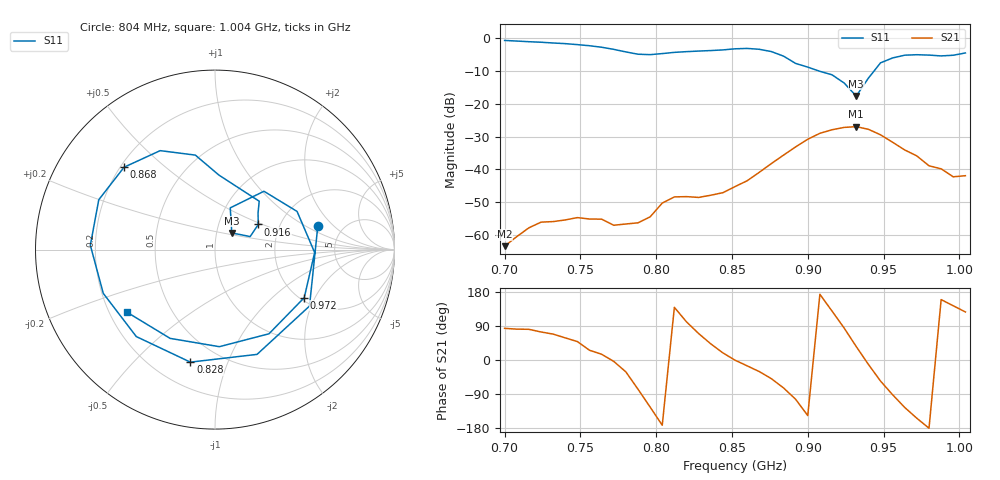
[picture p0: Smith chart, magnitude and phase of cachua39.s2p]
# Hz S RI R 50
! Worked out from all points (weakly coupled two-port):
!   39 points, 700 MHz to 1.004 GHz, reference 50 ohm
!   highest |S21| = -26.93 dB at 932 MHz (marker M1); lowest = -63.4 dB at 700 MHz (marker M2)
!   lowest |S11| = -17.6 dB at 932 MHz (marker M3), VSWR 1.30, Z = 59.2 + j11.2 ohm
!   |S11| at or under -10 dB: 907.8 MHz to 943.6 MHz (35.84 MHz wide, 3.87 % of centre)
!   S12 and S22 are empty: the file has one direction only
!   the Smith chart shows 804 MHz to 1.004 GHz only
!   S11 on the Smith chart (normalised r, x): 804 MHz: 3.28, +1.31; 828 MHz: 0.35, -0.74; 868 MHz: 0.21, +0.37; 916 MHz: 1.55, +0.47; 972 MHz: 2.10, -1.65; 1.004 GHz: 0.27, -0.30
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7e8  0.7665 0.5305  7.56e-05 0.00067  0 0  0 0
7.24e8  0.8347 -0.2641  0.000432 0.00151  0 0  0 0
7.4e8  0.4449 -0.7048  0.000888 0.00144  0 0  0 0
7.56e8  -0.1997 -0.7482  0.00158 0.000759  0 0  0 0
7.72e8  -0.6568 -0.1824  0.0014 -9.06e-05  0 0  0 0
7.8e8  -0.5761 0.2367  0.00126 -0.000764  0 0  0 0
7.88e8  -0.214 0.5335  0.000342 -0.00149  0 0  0 0
7.96e8  0.2674 0.4989  -0.00106 -0.00156  0 0  0 0
8.04e8  0.5728 0.1308  -0.00304 -0.000418  0 0  0 0
8.2e8  0.2343 -0.5838  -0.000715 0.00378  0 0  0 0
8.28e8  -0.1372 -0.627  0.00129 0.00351  0 0  0 0
8.52e8  -0.6945 0.0243  0.00547 -4.09e-05  0 0  0 0
8.68e8  -0.5065 0.4591  0.00779 -0.00459  0 0  0 0
8.84e8  -0.1095 0.5265  0.00466 -0.0159  0 0  0 0
9.08e8  0.2399 0.2042  -0.0354 0.00411  0 0  0 0
9.16e8  0.241 0.14  -0.0255 0.0313  0 0  0 0
9.32e8  0.0935 0.0929  0.0367 0.026  0 0  0 0
9.48e8  0.2727 0.325  0.0191 -0.0279  0 0  0 0
9.56e8  0.4573 0.2126  -0.000809 -0.026  0 0  0 0
9.72e8  0.4972 -0.2677  -0.0144 -0.00708  0 0  0 0
9.88e8  0.0245 -0.5409  -0.00957 0.0036  0 0  0 0
1.004e9  -0.488 -0.3503  -0.0048 0.00643  0 0  0 0
